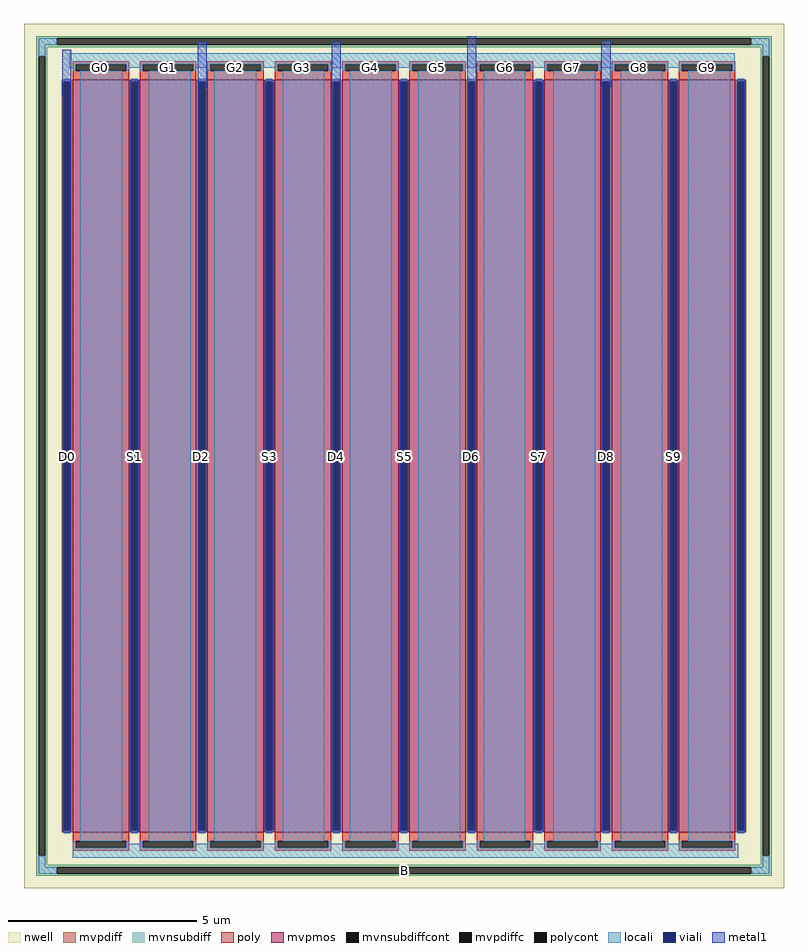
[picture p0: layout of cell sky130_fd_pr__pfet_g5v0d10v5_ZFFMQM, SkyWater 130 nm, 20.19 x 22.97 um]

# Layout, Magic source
magic
tech sky130A
magscale 1 2
<< nwell >>
rect -2019 -2297 2019 2297
<< mvpmos >>
rect -1761 -2000 -1461 2000
rect -1403 -2000 -1103 2000
rect -1045 -2000 -745 2000
rect -687 -2000 -387 2000
rect -329 -2000 -29 2000
rect 29 -2000 329 2000
rect 387 -2000 687 2000
rect 745 -2000 1045 2000
rect 1103 -2000 1403 2000
rect 1461 -2000 1761 2000
<< mvpdiff >>
rect -1819 1988 -1761 2000
rect -1819 -1988 -1807 1988
rect -1773 -1988 -1761 1988
rect -1819 -2000 -1761 -1988
rect -1461 1988 -1403 2000
rect -1461 -1988 -1449 1988
rect -1415 -1988 -1403 1988
rect -1461 -2000 -1403 -1988
rect -1103 1988 -1045 2000
rect -1103 -1988 -1091 1988
rect -1057 -1988 -1045 1988
rect -1103 -2000 -1045 -1988
rect -745 1988 -687 2000
rect -745 -1988 -733 1988
rect -699 -1988 -687 1988
rect -745 -2000 -687 -1988
rect -387 1988 -329 2000
rect -387 -1988 -375 1988
rect -341 -1988 -329 1988
rect -387 -2000 -329 -1988
rect -29 1988 29 2000
rect -29 -1988 -17 1988
rect 17 -1988 29 1988
rect -29 -2000 29 -1988
rect 329 1988 387 2000
rect 329 -1988 341 1988
rect 375 -1988 387 1988
rect 329 -2000 387 -1988
rect 687 1988 745 2000
rect 687 -1988 699 1988
rect 733 -1988 745 1988
rect 687 -2000 745 -1988
rect 1045 1988 1103 2000
rect 1045 -1988 1057 1988
rect 1091 -1988 1103 1988
rect 1045 -2000 1103 -1988
rect 1403 1988 1461 2000
rect 1403 -1988 1415 1988
rect 1449 -1988 1461 1988
rect 1403 -2000 1461 -1988
rect 1761 1988 1819 2000
rect 1761 -1988 1773 1988
rect 1807 -1988 1819 1988
rect 1761 -2000 1819 -1988
<< mvpdiffc >>
rect -1807 -1988 -1773 1988
rect -1449 -1988 -1415 1988
rect -1091 -1988 -1057 1988
rect -733 -1988 -699 1988
rect -375 -1988 -341 1988
rect -17 -1988 17 1988
rect 341 -1988 375 1988
rect 699 -1988 733 1988
rect 1057 -1988 1091 1988
rect 1415 -1988 1449 1988
rect 1773 -1988 1807 1988
<< mvnsubdiff >>
rect -1953 2219 1953 2231
rect -1953 2185 -1845 2219
rect 1845 2185 1953 2219
rect -1953 2173 1953 2185
rect -1953 2123 -1895 2173
rect -1953 -2123 -1941 2123
rect -1907 -2123 -1895 2123
rect 1895 2123 1953 2173
rect -1953 -2173 -1895 -2123
rect 1895 -2123 1907 2123
rect 1941 -2123 1953 2123
rect 1895 -2173 1953 -2123
rect -1953 -2185 1953 -2173
rect -1953 -2219 -1845 -2185
rect 1845 -2219 1953 -2185
rect -1953 -2231 1953 -2219
<< mvnsubdiffcont >>
rect -1845 2185 1845 2219
rect -1941 -2123 -1907 2123
rect 1907 -2123 1941 2123
rect -1845 -2219 1845 -2185
<< poly >>
rect -1761 2081 -1461 2097
rect -1761 2047 -1745 2081
rect -1477 2047 -1461 2081
rect -1761 2000 -1461 2047
rect -1403 2081 -1103 2097
rect -1403 2047 -1387 2081
rect -1119 2047 -1103 2081
rect -1403 2000 -1103 2047
rect -1045 2081 -745 2097
rect -1045 2047 -1029 2081
rect -761 2047 -745 2081
rect -1045 2000 -745 2047
rect -687 2081 -387 2097
rect -687 2047 -671 2081
rect -403 2047 -387 2081
rect -687 2000 -387 2047
rect -329 2081 -29 2097
rect -329 2047 -313 2081
rect -45 2047 -29 2081
rect -329 2000 -29 2047
rect 29 2081 329 2097
rect 29 2047 45 2081
rect 313 2047 329 2081
rect 29 2000 329 2047
rect 387 2081 687 2097
rect 387 2047 403 2081
rect 671 2047 687 2081
rect 387 2000 687 2047
rect 745 2081 1045 2097
rect 745 2047 761 2081
rect 1029 2047 1045 2081
rect 745 2000 1045 2047
rect 1103 2081 1403 2097
rect 1103 2047 1119 2081
rect 1387 2047 1403 2081
rect 1103 2000 1403 2047
rect 1461 2081 1761 2097
rect 1461 2047 1477 2081
rect 1745 2047 1761 2081
rect 1461 2000 1761 2047
rect -1761 -2047 -1461 -2000
rect -1761 -2081 -1745 -2047
rect -1477 -2081 -1461 -2047
rect -1761 -2097 -1461 -2081
rect -1403 -2047 -1103 -2000
rect -1403 -2081 -1387 -2047
rect -1119 -2081 -1103 -2047
rect -1403 -2097 -1103 -2081
rect -1045 -2047 -745 -2000
rect -1045 -2081 -1029 -2047
rect -761 -2081 -745 -2047
rect -1045 -2097 -745 -2081
rect -687 -2047 -387 -2000
rect -687 -2081 -671 -2047
rect -403 -2081 -387 -2047
rect -687 -2097 -387 -2081
rect -329 -2047 -29 -2000
rect -329 -2081 -313 -2047
rect -45 -2081 -29 -2047
rect -329 -2097 -29 -2081
rect 29 -2047 329 -2000
rect 29 -2081 45 -2047
rect 313 -2081 329 -2047
rect 29 -2097 329 -2081
rect 387 -2047 687 -2000
rect 387 -2081 403 -2047
rect 671 -2081 687 -2047
rect 387 -2097 687 -2081
rect 745 -2047 1045 -2000
rect 745 -2081 761 -2047
rect 1029 -2081 1045 -2047
rect 745 -2097 1045 -2081
rect 1103 -2047 1403 -2000
rect 1103 -2081 1119 -2047
rect 1387 -2081 1403 -2047
rect 1103 -2097 1403 -2081
rect 1461 -2047 1761 -2000
rect 1461 -2081 1477 -2047
rect 1745 -2081 1761 -2047
rect 1461 -2097 1761 -2081
<< polycont >>
rect -1745 2047 -1477 2081
rect -1387 2047 -1119 2081
rect -1029 2047 -761 2081
rect -671 2047 -403 2081
rect -313 2047 -45 2081
rect 45 2047 313 2081
rect 403 2047 671 2081
rect 761 2047 1029 2081
rect 1119 2047 1387 2081
rect 1477 2047 1745 2081
rect -1745 -2081 -1477 -2047
rect -1387 -2081 -1119 -2047
rect -1029 -2081 -761 -2047
rect -671 -2081 -403 -2047
rect -313 -2081 -45 -2047
rect 45 -2081 313 -2047
rect 403 -2081 671 -2047
rect 761 -2081 1029 -2047
rect 1119 -2081 1387 -2047
rect 1477 -2081 1745 -2047
<< locali >>
rect -1941 2185 -1845 2219
rect 1845 2185 1941 2219
rect -1941 2123 -1907 2185
rect -1779 2081 1757 2139
rect 1907 2123 1941 2185
rect -1779 2063 -1745 2081
rect -1761 2047 -1745 2063
rect -1477 2063 -1387 2081
rect -1477 2047 -1461 2063
rect -1403 2047 -1387 2063
rect -1119 2063 -1029 2081
rect -1119 2047 -1103 2063
rect -1045 2047 -1029 2063
rect -761 2063 -671 2081
rect -761 2047 -745 2063
rect -687 2047 -671 2063
rect -403 2063 -313 2081
rect -403 2047 -387 2063
rect -329 2047 -313 2063
rect -45 2063 45 2081
rect -45 2047 -29 2063
rect 29 2047 45 2063
rect 313 2063 403 2081
rect 313 2047 329 2063
rect 387 2047 403 2063
rect 671 2063 761 2081
rect 671 2047 687 2063
rect 745 2047 761 2063
rect 1029 2063 1119 2081
rect 1029 2047 1045 2063
rect 1103 2047 1119 2063
rect 1387 2063 1477 2081
rect 1387 2047 1403 2063
rect 1461 2047 1477 2063
rect 1745 2047 1761 2081
rect -1807 1988 -1773 2004
rect -1807 -2004 -1773 -1988
rect -1719 -2047 -1497 2047
rect -1449 1988 -1415 2004
rect -1449 -2004 -1415 -1988
rect -1355 -2047 -1133 2047
rect -1091 1988 -1057 2004
rect -1091 -2004 -1057 -1988
rect -1007 -2047 -785 2047
rect -733 1988 -699 2004
rect -733 -2004 -699 -1988
rect -645 -2047 -423 2047
rect -375 1988 -341 2004
rect -375 -2004 -341 -1988
rect -287 -2047 -65 2047
rect -17 1988 17 2004
rect -17 -2004 17 -1988
rect 77 -2047 299 2047
rect 341 1988 375 2004
rect 341 -2004 375 -1988
rect 423 -2047 645 2047
rect 699 1988 733 2004
rect 699 -2004 733 -1988
rect 793 -2047 1015 2047
rect 1057 1988 1091 2004
rect 1057 -2004 1091 -1988
rect 1151 -2047 1373 2047
rect 1415 1988 1449 2004
rect 1415 -2004 1449 -1988
rect 1511 -2047 1733 2047
rect 1773 1988 1807 2004
rect 1773 -2004 1807 -1988
rect -1941 -2185 -1907 -2123
rect -1761 -2081 -1745 -2047
rect -1477 -2059 -1461 -2047
rect -1403 -2059 -1387 -2047
rect -1477 -2081 -1387 -2059
rect -1119 -2059 -1103 -2047
rect -1045 -2059 -1029 -2047
rect -1119 -2081 -1029 -2059
rect -761 -2059 -745 -2047
rect -687 -2059 -671 -2047
rect -761 -2081 -671 -2059
rect -403 -2059 -387 -2047
rect -329 -2059 -313 -2047
rect -403 -2081 -313 -2059
rect -45 -2059 -29 -2047
rect 29 -2059 45 -2047
rect -45 -2081 45 -2059
rect 313 -2059 329 -2047
rect 387 -2059 403 -2047
rect 313 -2081 403 -2059
rect 671 -2059 687 -2047
rect 745 -2059 761 -2047
rect 671 -2081 761 -2059
rect 1029 -2059 1045 -2047
rect 1103 -2059 1119 -2047
rect 1029 -2081 1119 -2059
rect 1387 -2059 1403 -2047
rect 1461 -2059 1477 -2047
rect 1387 -2081 1477 -2059
rect 1745 -2059 1761 -2047
rect 1745 -2081 1775 -2059
rect -1761 -2135 1775 -2081
rect 1907 -2185 1941 -2123
rect -1941 -2219 -1845 -2185
rect 1845 -2219 1941 -2185
<< viali >>
rect -1807 -1988 -1773 1988
rect -1449 -1988 -1415 1988
rect -1091 -1988 -1057 1988
rect -733 -1988 -699 1988
rect -375 -1988 -341 1988
rect -17 -1988 17 1988
rect 341 -1988 375 1988
rect 699 -1988 733 1988
rect 1057 -1988 1091 1988
rect 1415 -1988 1449 1988
rect 1773 -1988 1807 1988
<< metal1 >>
rect -1817 1988 -1767 2159
rect -1817 1911 -1807 1988
rect -1813 -1988 -1807 1911
rect -1773 -1988 -1767 1988
rect -1813 -2000 -1767 -1988
rect -1455 1988 -1409 2000
rect -1455 -1988 -1449 1988
rect -1415 -1988 -1409 1988
rect -1455 -2000 -1409 -1988
rect -1097 1988 -1047 2201
rect -1097 -1988 -1091 1988
rect -1057 1953 -1047 1988
rect -739 1988 -693 2000
rect -1057 -1988 -1051 1953
rect -1097 -2000 -1051 -1988
rect -739 -1988 -733 1988
rect -699 -1988 -693 1988
rect -385 1988 -335 2201
rect -385 1953 -375 1988
rect -739 -2000 -693 -1988
rect -381 -1988 -375 1953
rect -341 -1988 -335 1988
rect -381 -2000 -335 -1988
rect -23 1988 23 2000
rect -23 -1988 -17 1988
rect 17 -1988 23 1988
rect -23 -2000 23 -1988
rect 335 1988 385 2231
rect 335 -1988 341 1988
rect 375 1983 385 1988
rect 693 1988 739 2000
rect 375 -1988 381 1983
rect 335 -2000 381 -1988
rect 693 -1988 699 1988
rect 733 -1988 739 1988
rect 1049 1988 1099 2207
rect 1049 1959 1057 1988
rect 693 -2000 739 -1988
rect 1051 -1988 1057 1959
rect 1091 1959 1099 1988
rect 1409 1988 1455 2000
rect 1091 -1988 1097 1959
rect 1051 -2000 1097 -1988
rect 1409 -1988 1415 1988
rect 1449 -1988 1455 1988
rect 1409 -2000 1455 -1988
rect 1767 1988 1813 2000
rect 1767 -1988 1773 1988
rect 1807 -1988 1813 1988
rect 1767 -2000 1813 -1988
<< labels >>
rlabel polycont 1611 2064 1611 2064 0 G9
port 21 nsew
rlabel mvpdiffc 1432 0 1432 0 0 S9
port 20 nsew
rlabel polycont 1253 2064 1253 2064 0 G8
port 19 nsew
rlabel mvpdiffc 1074 0 1074 0 0 D8
port 18 nsew
rlabel polycont 895 2064 895 2064 0 G7
port 17 nsew
rlabel mvpdiffc 716 0 716 0 0 S7
port 16 nsew
rlabel polycont 537 2064 537 2064 0 G6
port 15 nsew
rlabel mvpdiffc 358 0 358 0 0 D6
port 14 nsew
rlabel polycont 179 2064 179 2064 0 G5
port 13 nsew
rlabel mvpdiffc 0 0 0 0 0 S5
port 12 nsew
rlabel polycont -179 2064 -179 2064 0 G4
port 11 nsew
rlabel mvpdiffc -358 0 -358 0 0 D4
port 10 nsew
rlabel polycont -537 2064 -537 2064 0 G3
port 9 nsew
rlabel mvpdiffc -716 0 -716 0 0 S3
port 8 nsew
rlabel polycont -895 2064 -895 2064 0 G2
port 7 nsew
rlabel mvpdiffc -1074 0 -1074 0 0 D2
port 6 nsew
rlabel polycont -1253 2064 -1253 2064 0 G1
port 5 nsew
rlabel mvpdiffc -1432 0 -1432 0 0 S1
port 4 nsew
rlabel polycont -1611 2064 -1611 2064 0 G0
port 3 nsew
rlabel mvpdiffc -1790 0 -1790 0 0 D0
port 2 nsew
rlabel mvnsubdiffcont 0 -2202 0 -2202 0 B
port 1 nsew
<< properties >>
string FIXED_BBOX -1924 -2202 1924 2202
string gencell sky130_fd_pr__pfet_g5v0d10v5
string library sky130
string parameters w 20 l 1.5 m 1 nf 10 diffcov 100 polycov 100 guard 1 glc 1 grc 1 gtc 1 gbc 1 tbcov 100 rlcov 100 topc 1 botc 1 poverlap 0 doverlap 1 lmin 0.50 wmin 0.42 class mosfet compatible {sky130_fd_pr__pfet_01v8  sky130_fd_pr__pfet_01v8_lvt sky130_fd_pr__pfet_01v8_hvt  sky130_fd_pr__pfet_g5v0d10v5} full_metal 1 conn_gates 0 viasrc 100 viadrn 100 viagate 100 viagb 0 viagr 0 viagl 0 viagt 0 doports 1
<< end >>
